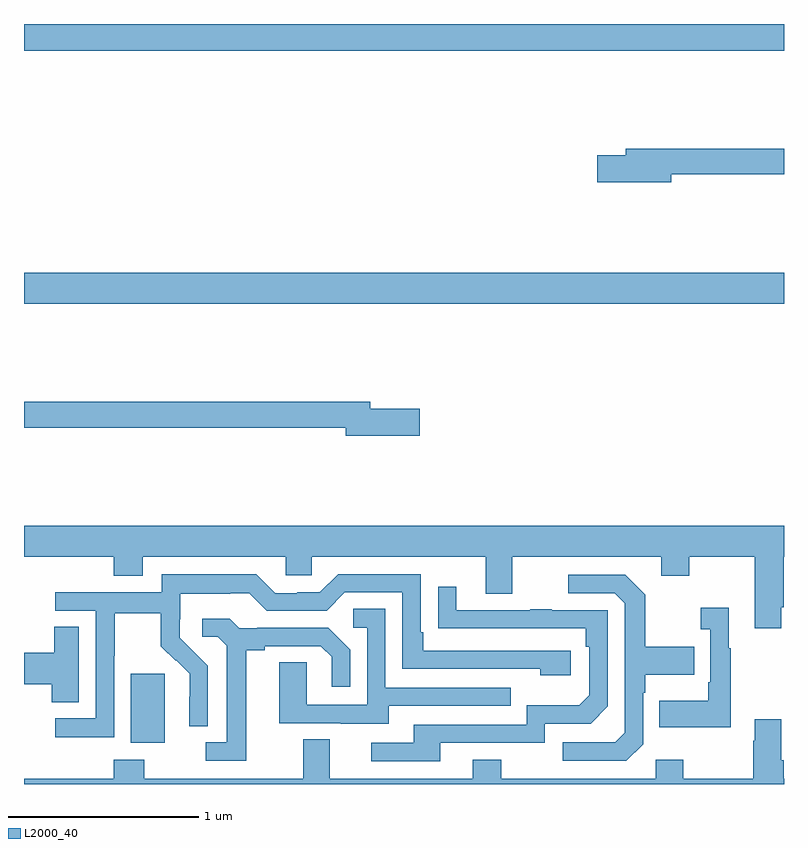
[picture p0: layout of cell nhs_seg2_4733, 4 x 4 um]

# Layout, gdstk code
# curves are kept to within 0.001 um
import gdstk
lib = gdstk.Library(unit=1e-6, precision=1e-09)
def R(c, l, rs):  # rectangles x0, y0, x1, y1
    for r in rs: c.add(gdstk.rectangle(r[:2], r[2:], *l))
def P(c, l, *ps):  # polygons
    for p in ps: c.add(gdstk.Polygon(p, *l))
L2000_40 = (2000, 40)

nhs_seg2_4733 = lib.new_cell('nhs_seg2_4733')
R(nhs_seg2_4733, L2000_40, [(369.563,620.018,369.742,620.379), (369,622.328,373,622.492), (369,623.66,373,623.8)])
P(nhs_seg2_4733, L2000_40, [(372.406,623.008),(373,623.008),(373,623.144),(372.167,623.144),(372.167,623.108),(372.018,623.108),(372.018,622.966),(372.406,622.966)],
  [(371.083,621.776),(370.822,621.776),(370.822,621.812),(369,621.812),(369,621.676),(370.694,621.676),(370.694,621.634),(371.083,621.634)],
  [(372.985,620.731),(372.998,620.731),(372.998,620.996),(373,620.996),(373,621.16),(369,621.16),(369,620.996),(369.473,620.996),(369.473,620.897),(369.625,620.897),(369.625,620.996),(370.377,620.996),(370.377,620.898),(370.515,620.898),(370.515,620.996),(371.429,620.996),(371.429,620.802),(371.569,620.802),(371.569,620.996),(372.353,620.996),(372.353,620.897),(372.501,620.897),(372.501,620.996),(372.845,620.996),(372.845,620.619),(372.985,620.619)],
  [(369.474,620.476),(369.477,620.476),(369.477,620.7),(369.721,620.7),(369.721,620.525),(369.798,620.448),(369.801,620.451),(369.872,620.381),(369.872,620.258),(369.87,620.258),(369.87,620.104),(369.966,620.104),(369.966,620.422),(369.82,620.57),(369.82,620.667),(369.822,620.667),(369.822,620.801),(370.085,620.801),(370.085,620.805),(370.185,620.805),(370.278,620.712),(370.593,620.712),(370.689,620.808),(370.992,620.808),(370.992,620.406),(371.717,620.406),(371.717,620.372),(371.878,620.372),(371.878,620.502),(371.101,620.502),(371.101,620.599),(371.088,620.599),(371.088,620.904),(370.653,620.904),(370.557,620.808),(370.439,620.808),(370.439,620.805),(370.323,620.805),(370.223,620.905),(369.726,620.905),(369.726,620.808),(369.165,620.808),(369.165,620.712),(369.378,620.712),(369.378,620.145),(369.165,620.145),(369.165,620.047),(369.474,620.047)],
  [(372.258,620.01),(372.258,620.279),(372.271,620.279),(372.271,620.375),(372.527,620.375),(372.527,620.523),(372.271,620.523),(372.271,620.795),(372.165,620.901),(371.865,620.901),(371.865,620.805),(372.108,620.805),(372.162,620.751),(372.162,620.07),(372.111,620.019),(371.835,620.019),(371.835,619.923),(372.171,619.923)],
  [(371.191,620.016),(371.742,620.016),(371.742,620.118),(371.982,620.118),(372.072,620.208),(372.072,620.715),(371.777,620.715),(371.777,620.72),(371.665,620.72),(371.665,620.715),(371.275,620.715),(371.275,620.839),(371.179,620.839),(371.179,620.62),(371.956,620.619),(371.956,620.522),(371.976,620.522),(371.976,620.268),(371.923,620.215),(371.646,620.215),(371.646,620.112),(371.051,620.112),(371.051,620.016),(370.827,620.016),(370.827,619.92),(371.191,619.92)],
  [(372.721,620.515),(372.709,620.515),(372.709,620.728),(372.561,620.728),(372.561,620.615),(372.612,620.615),(372.612,620.335),(372.6,620.335),(372.6,620.239),(372.343,620.239),(372.343,620.099),(372.721,620.099)],
  [(370.921,620.211),(371.561,620.211),(371.561,620.307),(370.902,620.307),(370.902,620.723),(370.734,620.723),(370.734,620.622),(370.806,620.622),(370.806,620.217),(370.488,620.217),(370.488,620.441),(370.343,620.441),(370.343,620.121),(370.667,620.121),(370.667,620.117),(370.921,620.117)],
  [(370.171,620.504),(370.267,620.504),(370.267,620.526),(370.562,620.526),(370.619,620.469),(370.619,620.313),(370.716,620.313),(370.716,620.506),(370.6,620.622),(370.228,620.622),(370.228,620.619),(370.134,620.619),(370.082,620.671),(369.939,620.671),(369.939,620.574),(370.02,620.574),(370.067,620.527),(370.067,620.019),(369.957,620.019),(369.957,619.923),(370.171,619.923)],
  [(369.289,620.627),(369.158,620.627),(369.158,620.491),(369,620.491),(369,620.326),(369.146,620.326),(369.146,620.23),(369.289,620.23)],
  [(373,619.828),(372.998,619.828),(372.998,619.924),(372.985,619.924),(372.985,620.14),(372.845,620.14),(372.845,620.027),(372.838,620.027),(372.838,619.828),(372.471,619.828),(372.471,619.927),(372.324,619.927),(372.324,619.828),(371.511,619.828),(371.511,619.927),(371.363,619.927),(371.363,619.828),(370.609,619.828),(370.609,620.036),(370.469,620.036),(370.469,619.828),(369.633,619.828),(369.633,619.927),(369.473,619.927),(369.473,619.828),(369,619.828),(369,619.8),(373,619.8)])

lib.write_gds('nhs_seg2_4733.gds')
